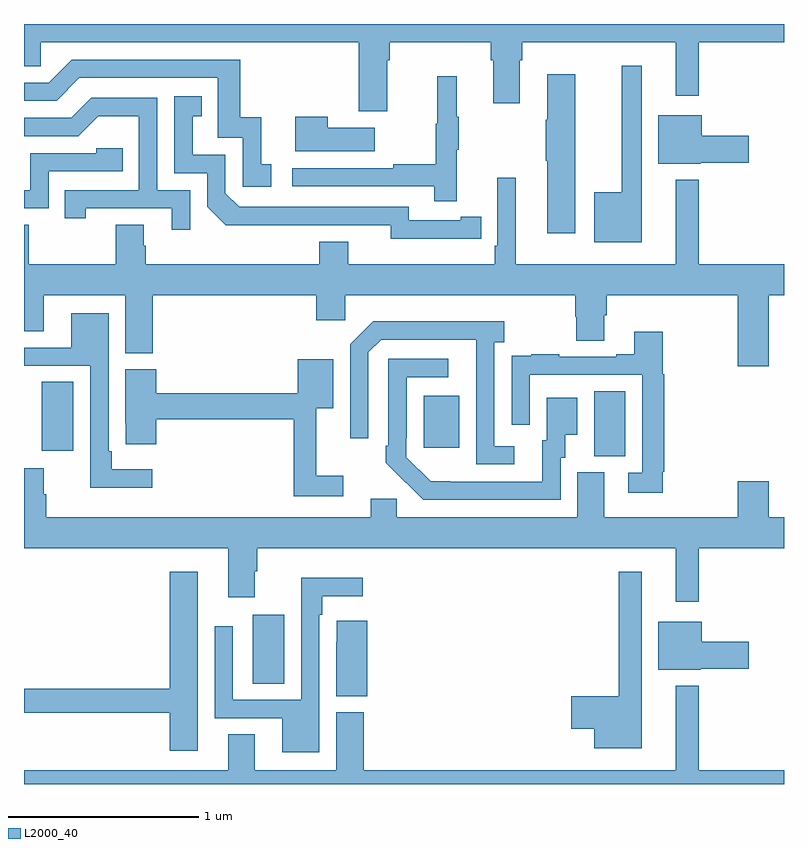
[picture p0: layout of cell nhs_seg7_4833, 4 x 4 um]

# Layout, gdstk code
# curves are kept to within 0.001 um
import gdstk
lib = gdstk.Library(unit=1e-6, precision=1e-09)
def R(c, l, rs):  # rectangles x0, y0, x1, y1
    for r in rs: c.add(gdstk.rectangle(r[:2], r[2:], *l))
def P(c, l, *ps):  # polygons
    for p in ps: c.add(gdstk.Polygon(p, *l))
L2000_40 = (2000, 40)

nhs_seg7_4833 = lib.new_cell('nhs_seg7_4833')
R(nhs_seg7_4833, L2000_40, [(414.203,1042.528,414.37,1042.891), (416,1043.725,416.164,1044.068), (413.093,1043.754,413.26,1044.116), (415.103,1043.769,415.291,1044.043)])
P(nhs_seg7_4833, L2000_40, [(414.913,1045.808),(414.926,1045.808),(414.926,1045.904),(415.457,1045.904),(415.457,1045.808),(415.469,1045.808),(415.469,1045.584),(415.609,1045.584),(415.609,1045.808),(415.622,1045.808),(415.622,1045.904),(416.429,1045.904),(416.429,1045.623),(416.551,1045.623),(416.551,1045.904),(417,1045.904),(417,1046),(413,1046),(413,1045.777),(413.088,1045.777),(413.088,1045.904),(414.761,1045.904),(414.761,1045.542),(414.913,1045.542)],
  [(414.301,1045.263),(414.248,1045.263),(414.248,1045.51),(414.137,1045.51),(414.137,1045.812),(413.25,1045.812),(413.13,1045.692),(413,1045.692),(413,1045.596),(413.172,1045.596),(413.292,1045.716),(414.021,1045.716),(414.021,1045.401),(414.15,1045.401),(414.15,1045.143),(414.301,1045.143)],
  [(416.251,1045.78),(416.147,1045.78),(416.147,1045.114),(416,1045.114),(416,1044.851),(416.251,1044.851)],
  [(415.9,1045.735),(415.754,1045.735),(415.754,1045.496),(415.747,1045.496),(415.747,1045.279),(415.754,1045.279),(415.754,1044.9),(415.9,1044.9)],
  [(415.277,1045.339),(415.288,1045.339),(415.288,1045.513),(415.277,1045.513),(415.277,1045.726),(415.174,1045.726),(415.174,1045.476),(415.167,1045.476),(415.167,1045.262),(414.943,1045.262),(414.943,1045.242),(414.411,1045.242),(414.411,1045.146),(415.159,1045.146),(415.159,1045.068),(415.277,1045.068)],
  [(415.298,1044.87),(415.406,1044.87),(415.406,1044.986),(415.298,1044.986),(415.298,1044.966),(415.026,1044.966),(415.026,1045.038),(414.132,1045.038),(414.06,1045.11),(414.06,1045.311),(413.887,1045.311),(413.887,1045.515),(413.936,1045.515),(413.936,1045.621),(413.79,1045.621),(413.79,1045.215),(413.964,1045.215),(413.964,1045.038),(414.062,1044.941),(414.93,1044.942),(414.93,1044.869)],
  [(413.874,1045.125),(413.7,1045.125),(413.7,1045.611),(413.354,1045.611),(413.249,1045.506),(413,1045.506),(413,1045.41),(413.286,1045.41),(413.39,1045.514),(413.604,1045.514),(413.604,1045.125),(413.215,1045.125),(413.215,1044.978),(413.326,1044.978),(413.326,1045.029),(413.777,1045.029),(413.777,1044.918),(413.874,1044.918)],
  [(416.562,1045.271),(416.815,1045.271),(416.815,1045.413),(416.566,1045.413),(416.566,1045.519),(416.339,1045.519),(416.339,1045.265),(416.562,1045.265)],
  [(414.847,1045.453),(414.599,1045.453),(414.599,1045.513),(414.428,1045.513),(414.428,1045.331),(414.847,1045.331)],
  [(413.13,1045.224),(413.519,1045.224),(413.519,1045.347),(413.379,1045.347),(413.379,1045.32),(413.034,1045.32),(413.034,1045.125),(413,1045.125),(413,1045.029),(413.13,1045.029)],
  [(416.551,1045.18),(416.429,1045.18),(416.429,1044.736),(415.588,1044.736),(415.588,1045.192),(415.491,1045.192),(415.491,1044.832),(415.478,1044.832),(415.478,1044.736),(414.706,1044.736),(414.706,1044.853),(414.554,1044.853),(414.554,1044.736),(413.642,1044.736),(413.642,1044.834),(413.629,1044.834),(413.629,1044.944),(413.482,1044.944),(413.482,1044.736),(413.025,1044.736),(413.025,1044.944),(413,1044.944),(413,1044.382),(413.104,1044.382),(413.104,1044.572),(413.534,1044.572),(413.534,1044.268),(413.678,1044.268),(413.678,1044.572),(414.539,1044.572),(414.539,1044.441),(414.69,1044.441),(414.69,1044.572),(415.901,1044.572),(415.901,1044.459),(415.906,1044.459),(415.906,1044.334),(416.053,1044.334),(416.053,1044.466),(416.066,1044.466),(416.066,1044.572),(416.756,1044.572),(416.756,1044.198),(416.92,1044.198),(416.92,1044.572),(417,1044.572),(417,1044.736),(416.551,1044.736)],
  [(413.674,1043.656),(413.461,1043.656),(413.461,1043.752),(413.445,1043.752),(413.445,1044.478),(413.249,1044.478),(413.249,1044.297),(413,1044.297),(413,1044.201),(413.349,1044.201),(413.349,1043.558),(413.674,1043.558)],
  [(415.579,1043.778),(415.476,1043.778),(415.476,1044.326),(415.528,1044.326),(415.528,1044.436),(414.838,1044.436),(414.717,1044.315),(414.717,1043.82),(414.813,1043.82),(414.813,1044.273),(414.879,1044.339),(415.379,1044.339),(415.38,1043.682),(415.579,1043.682)],
  [(416.362,1043.644),(416.369,1043.644),(416.369,1044.156),(416.362,1044.156),(416.362,1044.379),(416.213,1044.379),(416.213,1044.262),(416.117,1044.262),(416.117,1044.249),(415.817,1044.249),(415.817,1044.262),(415.669,1044.262),(415.669,1044.255),(415.567,1044.255),(415.567,1044.146),(415.566,1044.146),(415.566,1043.892),(415.662,1043.892),(415.662,1044.153),(416.253,1044.153),(416.253,1043.637),(416.181,1043.637),(416.181,1043.532),(416.362,1043.532)],
  [(415.824,1043.718),(415.849,1043.718),(415.849,1043.837),(415.912,1043.837),(415.912,1044.034),(415.751,1044.034),(415.751,1043.808),(415.727,1043.808),(415.727,1043.592),(415.14,1043.593),(415.011,1043.721),(415.011,1043.821),(415.014,1043.821),(415.014,1044.141),(415.234,1044.141),(415.234,1044.237),(414.918,1044.237),(414.918,1043.779),(414.903,1043.779),(414.903,1043.691),(415.1,1043.496),(415.824,1043.496)],
  [(414.679,1043.623),(414.539,1043.623),(414.539,1043.978),(414.628,1043.978),(414.628,1044.235),(414.441,1044.235),(414.441,1044.056),(413.696,1044.056),(413.696,1044.183),(413.534,1044.183),(413.534,1043.899),(413.535,1043.899),(413.535,1043.787),(413.696,1043.787),(413.696,1043.92),(414.421,1043.92),(414.421,1043.514),(414.679,1043.514)],
  [(416.551,1043.24),(417,1043.24),(417,1043.404),(416.92,1043.404),(416.92,1043.593),(416.756,1043.593),(416.756,1043.404),(416.053,1043.404),(416.053,1043.64),(415.913,1043.64),(415.913,1043.404),(414.963,1043.404),(414.963,1043.502),(414.824,1043.502),(414.824,1043.404),(413.117,1043.404),(413.117,1043.525),(413.104,1043.525),(413.104,1043.662),(413,1043.662),(413,1043.24),(414.074,1043.24),(414.074,1042.983),(414.214,1042.983),(414.214,1043.12),(414.227,1043.12),(414.227,1043.24),(416.429,1043.24),(416.429,1042.959),(416.551,1042.959)],
  [(416.251,1043.116),(416.13,1043.116),(416.13,1042.463),(415.881,1042.463),(415.881,1042.292),(416,1042.292),(416,1042.187),(416.251,1042.187)],
  [(413.914,1043.116),(413.768,1043.116),(413.768,1042.502),(413,1042.502),(413,1042.374),(413.768,1042.374),(413.768,1042.176),(413.914,1042.176)],
  [(414.555,1042.892),(414.571,1042.892),(414.571,1042.988),(414.784,1042.988),(414.784,1043.086),(414.459,1043.086),(414.459,1042.443),(414.099,1042.443),(414.099,1042.831),(414.003,1042.831),(414.003,1042.347),(414.359,1042.347),(414.359,1042.166),(414.555,1042.166)],
  [(414.806,1042.858),(414.645,1042.858),(414.645,1042.745),(414.644,1042.745),(414.644,1042.462),(414.806,1042.462)],
  [(416.562,1042.607),(416.815,1042.607),(416.815,1042.749),(416.566,1042.749),(416.566,1042.855),(416.339,1042.855),(416.339,1042.601),(416.562,1042.601)],
  [(417,1042.072),(416.551,1042.072),(416.551,1042.516),(416.429,1042.516),(416.429,1042.072),(414.788,1042.072),(414.788,1042.377),(414.644,1042.377),(414.644,1042.072),(414.214,1042.072),(414.214,1042.262),(414.074,1042.262),(414.074,1042.072),(413,1042.072),(413,1042),(417,1042)])

lib.write_gds('nhs_seg7_4833.gds')
